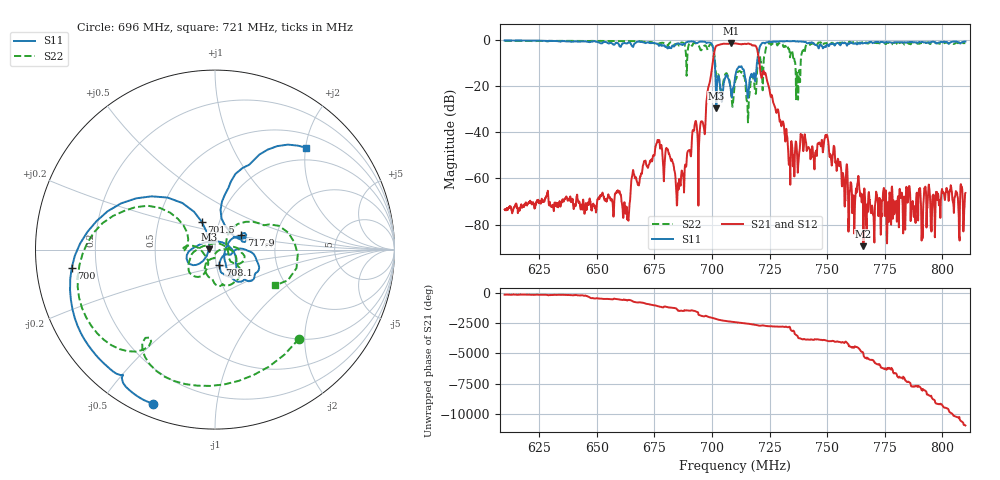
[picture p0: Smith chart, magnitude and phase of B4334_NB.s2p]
! Matrix data file written by TouchstoneData, EPCOS AG
! FILENAME: "B4334_2_X30Y37_NB.snp"
! COMMENT: "(TS/B4334_2_X30Y37_NB.s2p) Epcos AG 4/24/201"
! INFO: nport=2, nfreq=1601
! DATE: "Tue Aug 12 10:42:19 2014"
! USER: "Dan Wang"
! port | pin | signal
!  1  |  1  |  input
!  2  |  4  |  output
# MHZ S RI R 50
! freq  reS11 imS11  reS21 imS21  reS12 imS12  reS22 imS22
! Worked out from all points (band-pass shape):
!   1601 points, 610 MHz to 810 MHz, reference 50 ohm
!   highest |S21| = -1.36 dB at 708.4 MHz (marker M1); lowest = -89.4 dB at 765.8 MHz (marker M2)
!   |S21| within 3 dB of the highest: 701.2 MHz to 719.7 MHz (18.51 MHz wide, 2.6 % of centre)
!   lowest |S11| = -29.5 dB at 701.9 MHz (marker M3), VSWR 1.07, Z = 46.8 + j0.135 ohm
!   |S11| at or under -10 dB: 701.3 MHz to 719.5 MHz (18.26 MHz wide, 2.57 % of centre)
!   |S22| runs from -35.7 to -0.3 dB; largest |S21 - S12| = 0
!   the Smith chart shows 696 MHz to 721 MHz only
!   S11 on the Smith chart (normalised r, x): 696 MHz: 0.06, -0.67; 700 MHz: 0.11, -0.06; 701.5 MHz: 0.82, +0.26; 708.1 MHz: 1.03, -0.18; 717.9 MHz: 1.32, +0.23; 721 MHz: 0.74, +2.01
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610  0.5293 -0.8251  -0.000209 -4.08e-05  -0.000209 -4.08e-05  0.0915 -0.9632
643.375  0.382 -0.8574  -0.0002 0.000185  -0.0002 0.000185  -0.0733 -0.9526
663.25  0.3141 -0.7875  4.51e-05 0.00012  4.51e-05 0.00012  -0.2409 -0.9177
676.75  0.0912 -0.7857  0.00387 -0.00483  0.00387 -0.00483  -0.3857 -0.7435
685.375  0.1959 -0.8231  0.000374 -0.000636  0.000374 -0.000636  -0.5632 -0.5692
693.25  -0.1174 -0.8485  -0.01 -0.0116  -0.01 -0.0116  -0.835 -0.0579
696  -0.345 -0.8587  -0.0137 -0.00927  -0.0137 -0.00927  0.4683 -0.4965
700  -0.7982 -0.1009  0.00905 0.2461  0.00905 0.2461  -0.7641 -0.1466
701.5  -0.0739 0.1549  0.6931 -0.0381  0.6931 -0.0381  -0.2057 0.1706
701.875  -0.0334 0.00144  0.6655 -0.3479  0.6655 -0.3479  -0.149 0.0588
705.25  0.1163 -0.0503  -0.7839 -0.2835  -0.7839 -0.2835  -0.0609 -0.1347
708.125  0.0246 -0.085  -0.4945 0.6953  -0.4945 0.6953  -0.088 0.00753
708.375  0.0293 -0.0625  -0.4146 0.7482  -0.4146 0.7482  -0.0635 0.0198
710  0.1528 0.00441  0.1163 0.8397  0.1163 0.8397  0.116 -0.0344
714.125  0.0961 -0.1605  0.8293 -0.0917  0.8293 -0.0917  -0.0371 -0.1508
717.875  0.147 0.0834  -0.1375 -0.7633  -0.1375 -0.7633  0.1351 -0.0792
721  0.5078 0.5676  -0.1749 0.0898  -0.1749 0.0898  0.3361 -0.1992
734.125  0.8399 -0.4329  -0.00262 -0.000326  -0.00262 -0.000326  0.194 -0.4782
743.375  0.6498 -0.6059  -0.000305 0.0046  -0.000305 0.0046  0.7002 -0.4453
765.75  0.6654 -0.5399  5.43e-06 -3.36e-05  5.43e-06 -3.36e-05  0.3722 -0.7955
776.75  0.6423 -0.632  -9.54e-05 -6.14e-05  -9.54e-05 -6.14e-05  0.3009 -0.8192
810  0.6056 -0.71  -0.000442 -0.000197  -0.000442 -0.000197  0.1966 -0.827
